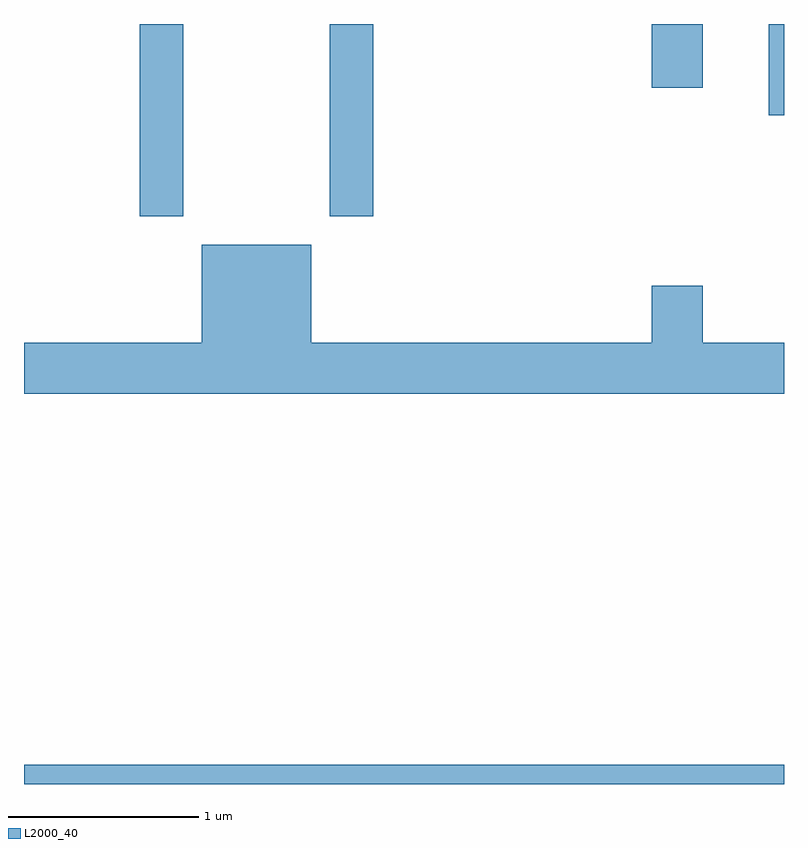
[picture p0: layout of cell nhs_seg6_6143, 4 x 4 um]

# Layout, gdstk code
import gdstk
lib = gdstk.Library(unit=1e-6, precision=1e-09)
def R(c, l, rs):  # rectangles x0, y0, x1, y1
    for r in rs: c.add(gdstk.rectangle(r[:2], r[2:], *l))
def P(c, l, *ps):  # polygons
    for p in ps: c.add(gdstk.Polygon(p, *l))
L2000_40 = (2000, 40)

nhs_seg6_6143 = lib.new_cell('nhs_seg6_6143')
R(nhs_seg6_6143, L2000_40, [(371.611,1590.162,375.611,1590.264), (372.221,1593.151,372.449,1594.162), (373.221,1593.151,373.449,1594.162), (375.531,1593.681,375.611,1594.162), (374.916,1593.826,375.184,1594.162)])
P(nhs_seg6_6143, L2000_40, [(375.611,1592.484),(375.184,1592.484),(375.184,1592.784),(374.916,1592.784),(374.916,1592.484),(373.124,1592.484),(373.124,1592.999),(372.546,1592.999),(372.546,1592.484),(371.611,1592.484),(371.611,1592.216),(375.611,1592.216)])

lib.write_gds('nhs_seg6_6143.gds')
